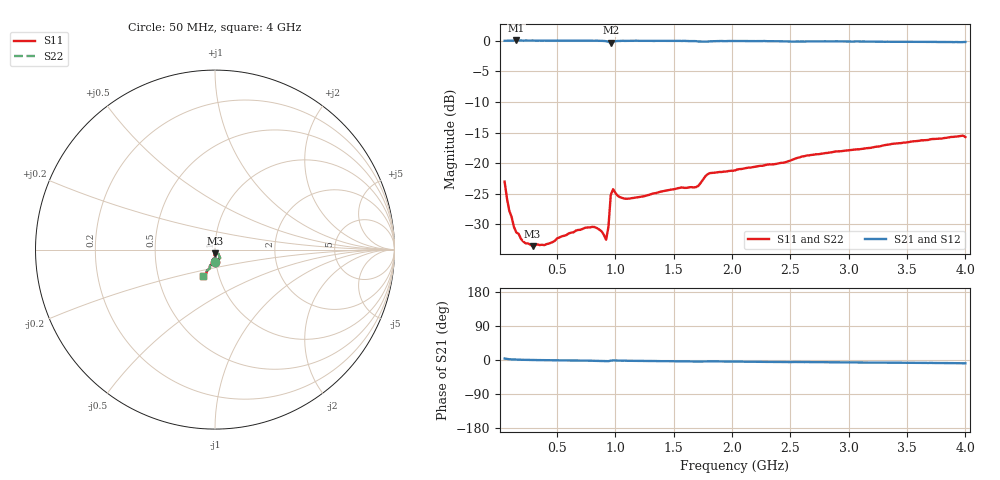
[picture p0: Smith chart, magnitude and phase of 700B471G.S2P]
!  American Technical Ceramics  Date:  3/13/98
!  One Norden Lane
!  Huntington Station,  NY.  11746-2102
!  Tel:  (516) 547-5700  Fax:  (516) 547-5748
!  Part Number  700B471G
!  Description: Porcelain, High Q, Low ESR
!  Application: Bypass, Coupling, Timing, Feedback
!  Tuning, Impedance Match, Blocking
# GHZ S DB R 50
! Freq  |S11|  S11 Ph  |S21|  S21 Ph  |S12|  S12 Ph  |S22|  S22 Ph
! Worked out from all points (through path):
!   201 points, 50 MHz to 4 GHz, reference 50 ohm
!   highest |S21| = 0.03 dB at 150 MHz (marker M1); lowest = -0.3 dB at 960 MHz (marker M2)
!   group delay of S21, straight-line fit = 6.32 ps
!   lowest |S11| = -33.6 dB at 290 MHz (marker M3), VSWR 1.04, Z = 49.9 - j2.09 ohm
!   |S11| at or under -10 dB: start of sweep to end of sweep
!   |S22| runs from -33.6 to -15.5 dB; largest |S21 - S12| = 0
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0.05  -23.02 -88.3  -0.02 3.9  -0.02 3.9  -23.02 -88.3
0.09  -27.76 -89.8  -0.02 2.0  -0.02 2.0  -27.76 -89.8
0.15  -31.31 -92.3  0.03 1.0  0.03 1.0  -31.31 -92.3
0.21  -32.80 -91.7  0.00 0.5  0.00 0.5  -32.80 -91.7
0.29  -33.56 -92.7  0.02 0.0  0.02 0.0  -33.56 -92.7
0.43  -33.14 -92.8  -0.01 -0.6  -0.01 -0.6  -33.14 -92.8
0.72  -30.73 -96.4  -0.01 -1.7  -0.01 -1.7  -30.73 -96.4
0.84  -30.60 -96.3  -0.01 -2.1  -0.01 -2.1  -30.60 -96.3
0.88  -31.10 -93.5  -0.03 -2.4  -0.03 -2.4  -31.10 -93.5
0.92  -32.51 -76.8  -0.09 -2.8  -0.09 -2.8  -32.51 -76.8
0.94  -30.42 -51.5  -0.20 -3.1  -0.20 -3.1  -30.42 -51.5
0.96  -25.21 -58.7  -0.33 -1.8  -0.33 -1.8  -25.21 -58.7
0.98  -24.26 -79.8  -0.20 -1.0  -0.20 -1.0  -24.26 -79.8
1.02  -25.34 -93.4  -0.05 -1.6  -0.05 -1.6  -25.34 -93.4
1.08  -25.80 -97.4  -0.04 -1.6  -0.04 -1.6  -25.80 -97.4
1.37  -24.75 -101.5  -0.03 -2.9  -0.03 -2.9  -24.75 -101.5
1.69  -23.92 -98.9  -0.08 -4.0  -0.08 -4.0  -23.92 -98.9
1.81  -21.63 -99.3  -0.11 -3.5  -0.11 -3.5  -21.63 -99.3
2.03  -21.16 -105.6  -0.07 -4.1  -0.07 -4.1  -21.16 -105.6
2.7  -18.62 -108.5  -0.12 -5.5  -0.12 -5.5  -18.62 -108.5
3.35  -16.95 -110.6  -0.19 -6.9  -0.19 -6.9  -16.95 -110.6
4  -15.74 -114.0  -0.22 -8.7  -0.22 -8.7  -15.74 -114.0
